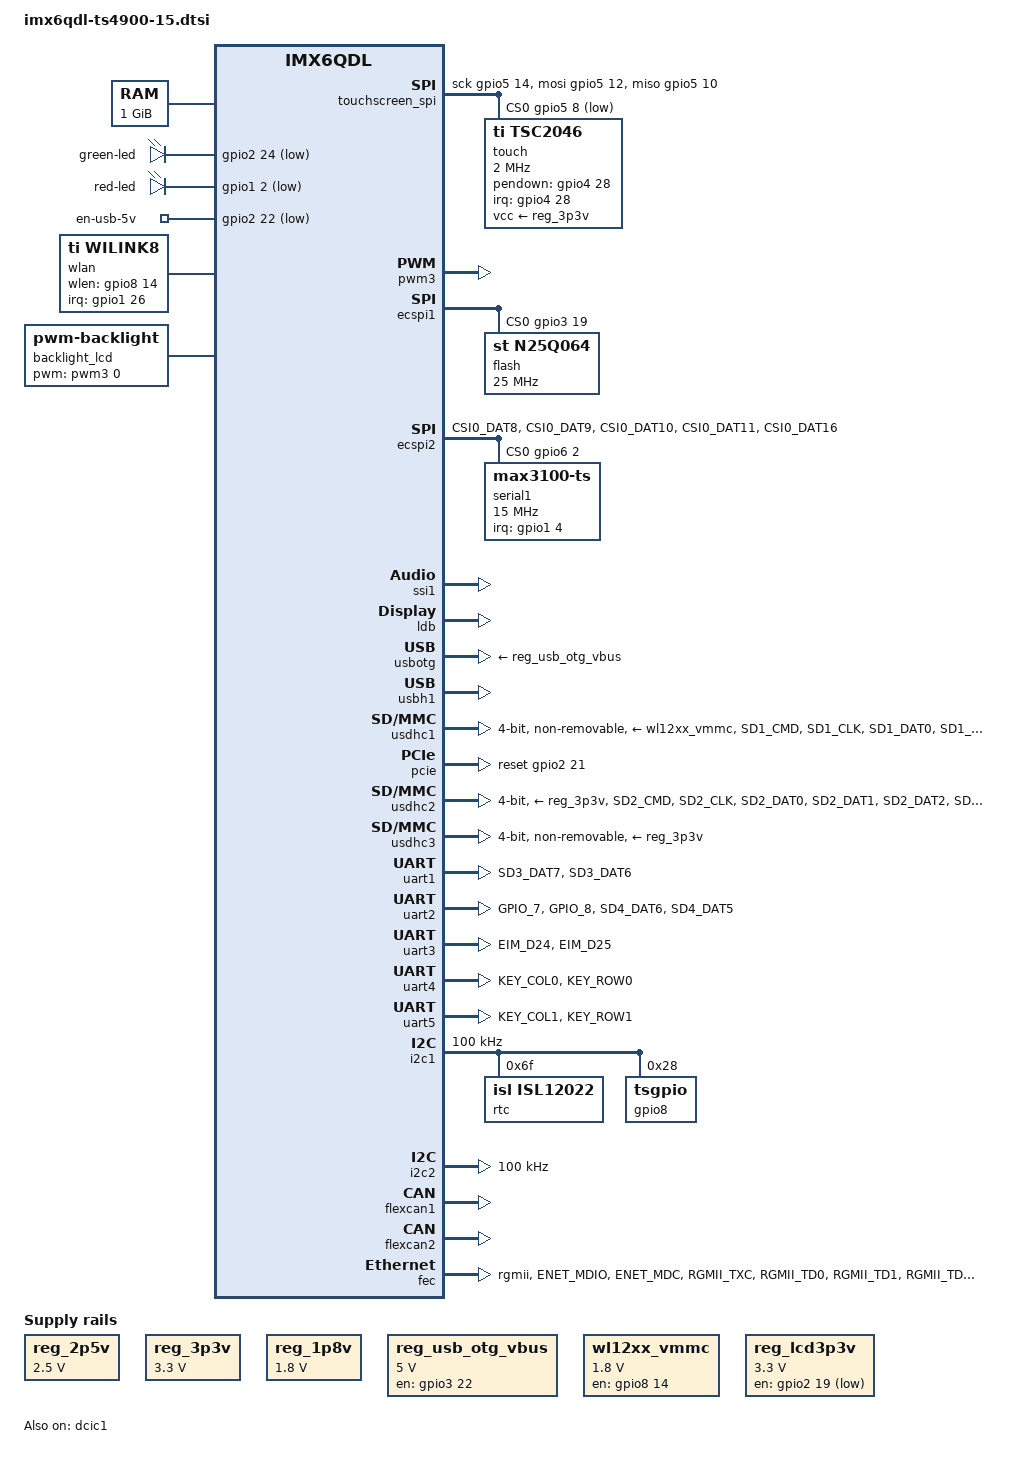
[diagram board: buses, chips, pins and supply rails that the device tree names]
/*
 * Copyright 2011 Freescale Semiconductor, Inc.
 * Copyright 2011 Linaro Ltd.
 *
 * The code contained herein is licensed under the GNU General Public
 * License. You may obtain a copy of the GNU General Public License
 * Version 2 or later at the following locations:
 *
 * http://www.opensource.org/licenses/gpl-license.html
 * http://www.gnu.org/copyleft/gpl.html
 */

#include <dt-bindings/interrupt-controller/irq.h>

/ {
	aliases {
		mxcfb0 = &mxcfb0;
	};

	memory {
		reg = <0x10000000 0x40000000>;
	};

	leds {
		compatible = "gpio-leds";

		green-led {
			label = "green-led";
			gpios = <&gpio2 24 1>;
			default-state = "on";
		};

		red-led {
			label = "red-led";
			gpios = <&gpio1 2 1>;
			default-state = "off";
		};

		en-usb-5v {
			label = "en-usb-5v";
			gpios = <&gpio2 22 1>;
			default-state = "off";
		};
	};

	regulators {
		compatible = "simple-bus";

		reg_2p5v: 2p5v {
			compatible = "regulator-fixed";
			regulator-name = "2P5V";
			regulator-min-microvolt = <2500000>;
			regulator-max-microvolt = <2500000>;
			regulator-always-on;
		};

		reg_3p3v: 3p3v {
			compatible = "regulator-fixed";
			regulator-name = "3P3V";
			regulator-min-microvolt = <3300000>;
			regulator-max-microvolt = <3300000>;
			regulator-always-on;
		};

		reg_1p8v: 1p8v {
			compatible = "regulator-fixed";
			regulator-name = "1P8V";
			regulator-min-microvolt = <1800000>;
			regulator-max-microvolt = <1800000>;
			regulator-always-on;
		};

		reg_usb_otg_vbus: usb_otg_vbus {
			compatible = "regulator-fixed";
			regulator-name = "usb_otg_vbus";
			regulator-min-microvolt = <5000000>;
			regulator-max-microvolt = <5000000>;
			gpio = <&gpio3 22 0>;
			enable-active-high;
		};

		wl12xx_vmmc: wl12xx_vmmc {
			compatible = "regulator-fixed";
			regulator-name = "wl12xx_vmmc";
			regulator-min-microvolt = <1800000>;
			regulator-max-microvolt = <1800000>;
			gpio = <&gpio8 14 0>;
			startup-delay-us = <100000>;
			enable-active-high;
			regulator-boot-on;
		};

		reg_lcd3p3v: lcd3p3v {
			compatible = "regulator-fixed";
			regulator-name = "LCD3P3V";
			regulator-min-microvolt = <3300000>;
			regulator-max-microvolt = <3300000>;
			gpio = <&gpio2 19 0>;
			startup-delay-us = <60000>;
			regulator-boot-on;
		};
	};

	mxcfb0: fb@0 {
		compatible = "fsl,mxc_sdc_fb";
		disp_dev = "ldb";
		interface_pix_fmt = "RGB666";
		default_bpp = <16>;
		int_clk = <0>;
		late_init = <0>;
		status = "okay";
	};

	wlan {
		compatible = "ti,wilink8";
		interrupt-parent = <&gpio1>;
		wlen-gpio = <&gpio8 14 0>;
		interrupts = <26 IRQ_TYPE_EDGE_FALLING>;
	};

	backlight_lcd {
		compatible = "pwm-backlight";
		pwms = <&pwm3 0 5000000>;
		brightness-levels = <0 128 140 160 180 200 220 240 255>;
		default-brightness-level = <8>;
	};

	touchscreen_spi {
		compatible = "spi-gpio";
		status = "okay";
		gpio-sck = <&gpio5 14 0>;
		gpio-mosi = <&gpio5 12 0>;
		gpio-miso = <&gpio5 10 0>;
		cs-gpios = <&gpio5 8 1>;
		num-chipselects = <1>;
		#address-cells = <1>;
		#size-cells = <0>;

		touch: tsc2046@0 {
			compatible = "ti,tsc2046";
			reg = <0>;
			interrupt-parent = <&gpio4>;
			interrupts = <28 2>;
			vcc-supply = <&reg_3p3v>;
			spi-max-frequency = <2000000>;
			pendown-gpio = <&gpio4 28 0>;
			ti,penirq-recheck-delay-usecs = /bits/ 16 <5000>;
			ti,vref-mv = <3300>;
			ti,swap-xy;
			ti,keep-vref-on;
			ti,settle-delay-usec = /bits/ 16 <5000>;
			ti,vref-delay-usecs = /bits/ 16 <0>;
			ti,x-plate-ohms = /bits/ 16 <715>;
			ti,y-plate-ohms = /bits/ 16 <325>;
			ti,debounce-rep = /bits/ 16 <3>;
			ti,debounce-tol = /bits/ 16 <65535>;
			ti,debounce-max = /bits/ 16 <0>;
			ti,pendown-gpio-debounce = <100000>;
			linux,wakeup;
		};
	};
};

&pwm3 {
	pinctrl-names = "default";
	pinctrl-0 = <&pinctrl_pwm3_1>;
	status = "okay";
};

&ecspi1 {
	fsl,spi-num-chipselects = <1>;
	cs-gpios = <&gpio3 19 0>;
	pinctrl-names = "default";
	pinctrl-0 = <&pinctrl_ecspi1_1>;
	status = "okay";
	flash: n25q064@0 {
		compatible = "st,n25q064";
		spi-max-frequency = <25000000>;
		reg = <0>;
		#address-cells = <1>;
		#size-cells = <1>;

		uboot@0 {
			label = "U-Boot";
			reg = <0x0000000 0x0100000>;
		};
		ubootenv@0100000 {
			label = "env";
			reg = <0x0100000 0x0020000>;
		};
		user@0400000 {
			label = "user-data";
			reg = <0x0400000 0x0400000>;
		};
	};
};

&ecspi2 {
	fsl,spi-num-chipselects = <1>;
	cs-gpios = <&gpio6 2 0>;
	pinctrl-names = "default";
	pinctrl-0 = <&pinctrl_ecspi2_4900>;
	status = "okay";

	serial1: max3100-1@0 {
		compatible = "max3100-ts";
		reg = <0>;
		interrupt-parent = <&gpio1>;
		interrupts = <4 IRQ_TYPE_LEVEL_LOW>;
		spi-max-frequency = <15000000>;
		loopback = <0>;
		crystal = <1>;
		poll-time = <100>;
	};
};

&ssi1 {
	fsl,mode = "i2s-slave";
	status = "okay";
};

&iomuxc {
	pinctrl-names = "default";
	pinctrl-0 = <&pinctrl_misc>;

	uart1-4900 {
		pinctrl_uart1_4900: uart1-grp-2 {
			fsl,pins = <
				MX6QDL_PAD_SD3_DAT7__UART1_TX_DATA	0x1b0b1
				MX6QDL_PAD_SD3_DAT6__UART1_RX_DATA	0x1b0b1
			>;
		};
	};

	uart2-4900 {
		pinctrl_uart2_4900: uart2-grp-2 {
			fsl,pins = <
				MX6QDL_PAD_GPIO_7__UART2_TX_DATA	0x1b0b1
				MX6QDL_PAD_GPIO_8__UART2_RX_DATA	0x1b0b1
				MX6QDL_PAD_SD4_DAT6__UART2_CTS_B    0x1b0b1
				MX6QDL_PAD_SD4_DAT5__UART2_RTS_B    0x1b0b1
			>;
		};
	};

	uart3-4900 {
		pinctrl_uart3_4900: uart3-grp-2 {
			fsl,pins = <
				MX6QDL_PAD_EIM_D24__UART3_TX_DATA	0x1b0b1
				MX6QDL_PAD_EIM_D25__UART3_RX_DATA	0x1b0b1
			>;
		};
	};

	uart4-4900 {
		pinctrl_uart4_4900: uart4-grp-2 {
			fsl,pins = <
				MX6QDL_PAD_KEY_COL0__UART4_TX_DATA	0x1b0b1
				MX6QDL_PAD_KEY_ROW0__UART4_RX_DATA	0x1b0b1
			>;
		};
	};

	uart5-4900 {
		pinctrl_uart5_4900: uart5-grp-2 {
			fsl,pins = <
				MX6QDL_PAD_KEY_COL1__UART5_TX_DATA	0x1b0b1
				MX6QDL_PAD_KEY_ROW1__UART5_RX_DATA	0x1b0b1
			>;
		};
	};

	// TODO verify irq uses same pad settings
	usdhc1-4900 {
		pinctrl_usdhc1_4900: usdhc1grp-1 {
			fsl,pins = <
				MX6QDL_PAD_SD1_CMD__SD1_CMD	     0x17059
				MX6QDL_PAD_SD1_CLK__SD1_CLK	     0x10059
				MX6QDL_PAD_SD1_DAT0__SD1_DATA0	 0x17059
				MX6QDL_PAD_SD1_DAT1__SD1_DATA1	 0x17059
				MX6QDL_PAD_SD1_DAT2__SD1_DATA2	 0x17059
				MX6QDL_PAD_SD1_DAT3__SD1_DATA3	 0x17059
				MX6QDL_PAD_ENET_RXD1__GPIO1_IO26 0x17059 // WIFI IRQ
			>;
		};
	};

	usdhc2-4900 {
		pinctrl_usdhc2_4900: usdhc2grp-2 {
			fsl,pins = <
				MX6QDL_PAD_SD2_CMD__SD2_CMD    0x17059
				MX6QDL_PAD_SD2_CLK__SD2_CLK    0x10059
				MX6QDL_PAD_SD2_DAT0__SD2_DATA0 0x17059
				MX6QDL_PAD_SD2_DAT1__SD2_DATA1 0x17059
				MX6QDL_PAD_SD2_DAT2__SD2_DATA2 0x17059
				MX6QDL_PAD_SD2_DAT3__SD2_DATA3 0x17059
			>;
		};
	};

	ecspi2-4900 {
		pinctrl_ecspi2_4900: ecspi2-1 {
			fsl,pins = <
				MX6QDL_PAD_CSI0_DAT8__ECSPI2_SCLK    0x100b1
				MX6QDL_PAD_CSI0_DAT9__ECSPI2_MOSI    0x100b1
				MX6QDL_PAD_CSI0_DAT10__ECSPI2_MISO   0x100b1
				MX6QDL_PAD_CSI0_DAT11__GPIO5_IO29    0x100b1 // Offboard CS0#
				MX6QDL_PAD_CSI0_DAT16__GPIO6_IO02    0x100b1 // FPGA CS1#
			>;
		};
	};

	enet-4900 {
		pinctrl_enet_4900: enet-4900 {
			fsl,pins = <
				MX6QDL_PAD_ENET_MDIO__ENET_MDIO       0x1b0b0
				MX6QDL_PAD_ENET_MDC__ENET_MDC         0x1b0b0
				MX6QDL_PAD_RGMII_TXC__RGMII_TXC       0x1b0b0
				MX6QDL_PAD_RGMII_TD0__RGMII_TD0       0x1b0b0
				MX6QDL_PAD_RGMII_TD1__RGMII_TD1       0x1b0b0
				MX6QDL_PAD_RGMII_TD2__RGMII_TD2       0x1b0b0
				MX6QDL_PAD_RGMII_TD3__RGMII_TD3       0x1b0b0
				MX6QDL_PAD_RGMII_TX_CTL__RGMII_TX_CTL 0x1b0b0
				MX6QDL_PAD_ENET_REF_CLK__ENET_TX_CLK  0x1b0b0
				MX6QDL_PAD_RGMII_RXC__RGMII_RXC       0x1b0b0
				MX6QDL_PAD_RGMII_RD0__RGMII_RD0       0x1b0b0
				MX6QDL_PAD_RGMII_RD1__RGMII_RD1       0x1b0b0
				MX6QDL_PAD_RGMII_RD2__RGMII_RD2       0x1b0b0
				MX6QDL_PAD_RGMII_RD3__RGMII_RD3       0x1b0b0
				MX6QDL_PAD_RGMII_RX_CTL__RGMII_RX_CTL 0x1b0b0
				MX6QDL_PAD_ENET_REF_CLK__ENET_TX_CLK  0x4001b0a8
				MX6QDL_PAD_ENET_TX_EN__GPIO1_IO28     0x80000000
				MX6QDL_PAD_DI0_PIN4__GPIO4_IO20       0x80000000 // ETH_PHY_RESET
			>;
		};
	};

	misc {
		pinctrl_misc: misc {
			fsl,pins = <
				MX6QDL_PAD_EIM_D19__GPIO3_IO19         0x80000000 // SPI_1_CS#
				MX6QDL_PAD_GPIO_0__CCM_CLKO1           0x130b0    // Audio CLK
				MX6QDL_PAD_CSI0_VSYNC__GPIO5_IO21      0x80000000 // FPGA_RESET#
				MX6QDL_PAD_CSI0_DATA_EN__GPIO5_IO20    0x80000000 // FPGA_DONE
				MX6QDL_PAD_GPIO_2__GPIO1_IO02          0x80000000 // RED_LED#
				MX6QDL_PAD_GPIO_3__XTALOSC_REF_CLK_24M 0x10       // FPGA 24MHZ
				MX6QDL_PAD_GPIO_4__GPIO1_IO04          0x80000000 // FPGA_IRQ
				MX6QDL_PAD_GPIO_5__GPIO1_IO05          0x80000000 // DIO_1
				MX6QDL_PAD_GPIO_6__GPIO1_IO06          0x80000000 // DIO_2
				MX6QDL_PAD_GPIO_9__GPIO1_IO09          0x80000000 // DIO_3
				MX6QDL_PAD_GPIO_16__GPIO7_IO11         0x80000000 // DIO_4
				MX6QDL_PAD_GPIO_17__GPIO7_IO12         0x80000000 // DIO_5
				MX6QDL_PAD_GPIO_19__GPIO4_IO05         0x80000000 // DIO_7
				MX6QDL_PAD_CSI0_MCLK__GPIO5_IO19       0x80000000 // DIO_8
				MX6QDL_PAD_CSI0_PIXCLK__GPIO5_IO18     0x80000000 // DIO_9
				MX6QDL_PAD_CSI0_DAT12__GPIO5_IO30      0x80000000 // DIO_0
				MX6QDL_PAD_CSI0_DAT13__GPIO5_IO31      0x80000000 // DIO_6
				MX6QDL_PAD_CSI0_DAT17__GPIO6_IO03      0x80000000 // CPU_DIO_A
				MX6QDL_PAD_SD4_DAT7__GPIO2_IO15        0x80000000 // DIO_2
				MX6QDL_PAD_SD3_RST__GPIO7_IO08         0x80000000 // CPU_DIO_B
				MX6QDL_PAD_EIM_LBA__GPIO2_IO27         0x80000000 // BUS_ALE#
				MX6QDL_PAD_EIM_OE__GPIO2_IO25          0x80000000 // DIO_15
				MX6QDL_PAD_EIM_RW__GPIO2_IO26          0x80000000 // BUS_DIR
				MX6QDL_PAD_EIM_CS0__GPIO2_IO23         0x80000000 // BUS_CS#
				MX6QDL_PAD_EIM_CS1__GPIO2_IO24         0x80000000 // GREEN_LED#
				MX6QDL_PAD_EIM_A16__GPIO2_IO22         0x80000000 // EN_USB_5V#
				MX6QDL_PAD_EIM_A17__GPIO2_IO21         0x80000000 // OFF_BD_RESET#
				MX6QDL_PAD_EIM_A18__GPIO2_IO20         0x80000000 // DIO_14
				MX6QDL_PAD_EIM_A20__GPIO2_IO18         0x80000000 // DIO_16
				MX6QDL_PAD_EIM_A21__GPIO2_IO17         0x80000000 // DIO_12
				MX6QDL_PAD_EIM_A22__GPIO2_IO16         0x80000000 // DIO_18
				MX6QDL_PAD_EIM_A23__GPIO6_IO06         0x80000000 // DIO_19
				MX6QDL_PAD_EIM_A24__GPIO5_IO04         0x80000000 // DIO_20
				MX6QDL_PAD_EIM_D31__GPIO3_IO31         0x80000000 // BUS_BHE#
				MX6QDL_PAD_EIM_BCLK__GPIO6_IO31        0x80000000 // DIO_13
				MX6QDL_PAD_EIM_WAIT__GPIO5_IO00        0x80000000 // EIM_WAIT#
				MX6QDL_PAD_EIM_EB0__GPIO2_IO28         0x80000000 // EN_SD_POWER#
				MX6QDL_PAD_EIM_EB1__GPIO2_IO29         0x80000000 // DIO_10

				MX6QDL_PAD_EIM_A19__GPIO2_IO19         0x80000000 // EN_REMOTE_LCD
				MX6QDL_PAD_EIM_DA0__GPIO3_IO00         0x80000000 // MUX_AD_00
				MX6QDL_PAD_EIM_DA1__GPIO3_IO01         0x80000000 // MUX_AD_01
				MX6QDL_PAD_EIM_DA2__GPIO3_IO02         0x80000000 // MUX_AD_02
				MX6QDL_PAD_EIM_DA3__GPIO3_IO03         0x80000000 // MUX_AD_03
				MX6QDL_PAD_EIM_DA4__GPIO3_IO04         0x80000000 // MUX_AD_04
				MX6QDL_PAD_EIM_DA5__GPIO3_IO05         0x80000000 // MUX_AD_05
				MX6QDL_PAD_EIM_DA6__GPIO3_IO06         0x80000000 // MUX_AD_06
				MX6QDL_PAD_EIM_DA7__GPIO3_IO07         0x80000000 // MUX_AD_07
				MX6QDL_PAD_EIM_DA8__GPIO3_IO08         0x80000000 // MUX_AD_08
				MX6QDL_PAD_EIM_DA9__GPIO3_IO09         0x80000000 // MUX_AD_09
				MX6QDL_PAD_EIM_DA10__GPIO3_IO10        0x80000000 // MUX_AD_10
				MX6QDL_PAD_EIM_DA11__GPIO3_IO11        0x80000000 // MUX_AD_11
				MX6QDL_PAD_EIM_DA12__GPIO3_IO12        0x80000000 // MUX_AD_12
				MX6QDL_PAD_EIM_DA13__GPIO3_IO13        0x80000000 // MUX_AD_13
				MX6QDL_PAD_EIM_DA14__GPIO3_IO14        0x80000000 // MUX_AD_14
				MX6QDL_PAD_EIM_DA15__GPIO3_IO15        0x80000000 // MUX_AD_15
				MX6QDL_PAD_DI0_DISP_CLK__GPIO4_IO16    0x80000000 
				MX6QDL_PAD_DI0_PIN15__GPIO4_IO17       0x80000000 
				MX6QDL_PAD_DI0_PIN2__GPIO4_IO18        0x80000000
				MX6QDL_PAD_DI0_PIN3__GPIO4_IO19        0x80000000 
				MX6QDL_PAD_DISP0_DAT0__GPIO4_IO21      0x80000000
				MX6QDL_PAD_DISP0_DAT1__GPIO4_IO22      0x80000000
				MX6QDL_PAD_DISP0_DAT2__GPIO4_IO23      0x80000000
				MX6QDL_PAD_DISP0_DAT3__GPIO4_IO24      0x80000000
				MX6QDL_PAD_DISP0_DAT4__GPIO4_IO25      0x80000000 // PCIE_RESET#
				MX6QDL_PAD_DISP0_DAT5__GPIO4_IO26      0x80000000
				MX6QDL_PAD_DISP0_DAT6__GPIO4_IO27      0x80000000
				MX6QDL_PAD_DISP0_DAT7__GPIO4_IO28      0x80000000 // TOUCH_IRQ
				MX6QDL_PAD_DISP0_DAT8__GPIO4_IO29      0x80000000
				MX6QDL_PAD_DISP0_DAT9__GPIO4_IO30      0x80000000
				MX6QDL_PAD_DISP0_DAT10__GPIO4_IO31     0x80000000
				MX6QDL_PAD_DISP0_DAT11__GPIO5_IO05     0x80000000
				MX6QDL_PAD_DISP0_DAT12__GPIO5_IO06     0x80000000
				MX6QDL_PAD_DISP0_DAT13__GPIO5_IO07     0x80000000
				MX6QDL_PAD_DISP0_DAT14__GPIO5_IO08     0x80000000 // TOUCH_SPI_CS#
				MX6QDL_PAD_DISP0_DAT15__GPIO5_IO09     0x80000000
				MX6QDL_PAD_DISP0_DAT16__GPIO5_IO10     0x80000000 // TOUCH_SPI_MISO
				MX6QDL_PAD_DISP0_DAT17__GPIO5_IO11     0x80000000
				MX6QDL_PAD_DISP0_DAT18__GPIO5_IO12     0x80000000 // TOUCH_SPI_MOSI
				MX6QDL_PAD_DISP0_DAT19__GPIO5_IO13     0x80000000
				MX6QDL_PAD_DISP0_DAT20__GPIO5_IO14     0x80000000 // TOUCH_SPI_CLK
				MX6QDL_PAD_DISP0_DAT21__GPIO5_IO15     0x80000000
				MX6QDL_PAD_DISP0_DAT22__GPIO5_IO16     0x80000000
				MX6QDL_PAD_DISP0_DAT23__GPIO5_IO17     0x80000000
			>;
		};
	};
};

&ldb {
	status = "okay";

	lvds-channel@0 {
		fsl,data-mapping = "spwg";
		fsl,data-width = <18>;
		status = "okay";
		primary;
		crtc = "ipu1-di0";

		display-timings {
			native-mode = <&timing0>;
			timing0: okaya-rv800480t7x0wp {
				clock-frequency = <33260000>; /* Hz*/
				hactive = <800>;
				hback-porch = <40>;
				hfront-porch = <40>;
				hsync-len = <1>;

				vactive = <480>;
				vback-porch = <29>;
				vfront-porch = <13>;
				vsync-len = <3>;

				de-active = <1>;
			};
		};
	};
};

&dcic1 {
	dcic_id = <0>;
	dcic_mux = "dcic-lvds0";
	status = "okay";
};

&usbotg {
	vbus-supply = <&reg_usb_otg_vbus>;
	pinctrl-names = "default";
	pinctrl-0 = <&pinctrl_usbotg_1>;
	disable-over-current;
	status = "okay";
};

&usbh1 {
	status = "okay";
};

&weim {
    status = "disabled";
};

// WIFI
&usdhc1 {
	pinctrl-names = "default";
	pinctrl-0 = <&pinctrl_usdhc1_4900>;
	vmmc-supply = <&wl12xx_vmmc>;
	bus-width = <4>;
	status = "okay";
	non-removable;
};

&pcie {
	status = "okay";
	reset-gpio = <&gpio2 21 0>;
};

// SD
&usdhc2 {
	pinctrl-names = "default";
	pinctrl-0 = <&pinctrl_usdhc2_4900>;
	vmmc-supply = <&reg_3p3v>;
	bus-width = <4>;
	status = "okay";
	//fsl,cd-controller;
	fsl,wp-controller;
};

// eMMC
&usdhc3 {
	pinctrl-names = "default";
	pinctrl-0 = <&pinctrl_usdhc3_2>;
	vmmc-supply = <&reg_3p3v>;
	bus-width = <4>;
	status = "okay";
	fsl,wp-controller;
	non-removable;
};

&uart1 {
	status = "okay";
	pinctrl-names = "default";
	pinctrl-0 = <&pinctrl_uart1_4900>;
};

&uart2 {
	status = "okay";
	pinctrl-names = "default";
	pinctrl-0 = <&pinctrl_uart2_4900>;
	fsl,uart-has-rtscts;
};

&uart3 {
	status = "okay";
	pinctrl-names = "default";
	pinctrl-0 = <&pinctrl_uart3_4900>;
};

&uart4 {
	status = "okay";
	pinctrl-names = "default";
	pinctrl-0 = <&pinctrl_uart4_4900>;
};

&uart5 {
	status = "okay";
	pinctrl-names = "default";
	pinctrl-0 = <&pinctrl_uart5_4900>;
};

&i2c1 {
	status = "okay";
	clock-frequency = <100000>;
	pinctrl-names = "default";
	pinctrl-0 = <&pinctrl_i2c1_1>;

	rtc: isl12022@6f {
		compatible = "isl,isl12022";
		reg = <0x6f>;
	};

	gpio8: tsgpio@28 {
		compatible = "tsgpio";
		reg = <0x28>;
		#gpio-cells = <2>;
		gpio-controller;
		base = <224>;
	};
};

&i2c2 {
	status = "okay";
	clock-frequency = <100000>;
	pinctrl-names = "default";
	pinctrl-0 = <&pinctrl_i2c2_2>;
};

&flexcan1 {
        pinctrl-names = "default";
        pinctrl-0 = <&pinctrl_flexcan1_1>;
        status = "okay";
};

&flexcan2 {
        pinctrl-names = "default";
        pinctrl-0 = <&pinctrl_flexcan2_1>;
        status = "okay";
};

&fec {
		pinctrl-names = "default";
		pinctrl-0 = <&pinctrl_enet_4900>;
		phy-mode = "rgmii";
		status = "okay";
};
